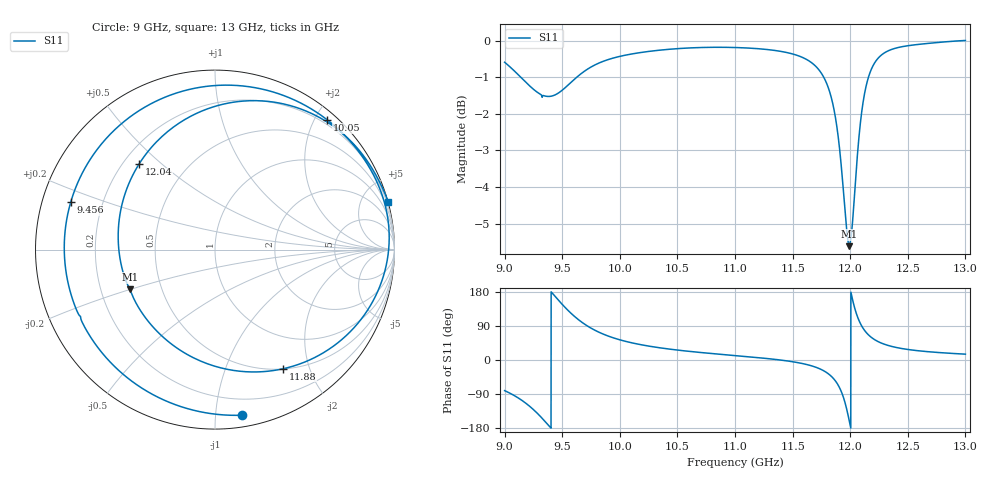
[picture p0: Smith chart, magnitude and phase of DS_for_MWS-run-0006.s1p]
! TOUCHSTONE file generated by CST DESIGN STUDIO
! Date and time: Wed Feb  5 13:40:33 2025
! Project name: C:\Work\MatlabApps\UnitCellOptimizationMatlab\CST\unitcell.cst
! Tree item: Tasks\Sweep1\SPara1\S-Parameters
! Header version: 2024
! Port assignment regex: !\s*Touchstone port\s*([0-9]+)\s*=\s*(CST MWS port|CST DES external port|CST DES block port)\s*(.+)\s* \(\"(.*)\"\)(\s*mode\s*([0-9]+))?.*
! Touchstone port assignment:
! Touchstone port 1 = CST DES external port 1 ("")
# GHz S MA R 50
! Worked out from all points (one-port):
!   4001 points, 9 GHz to 13 GHz, reference 50 ohm
!   lowest |S11| = -5.6 dB at 11.99 GHz (marker M1), VSWR 3.20, Z = 16.3 - j9.96 ohm
!   |S11| at or under -10 dB: nowhere
!   S11 on the Smith chart (normalised r, x): 9 GHz: 0.08, -1.17; 9.456 GHz: 0.09, +0.16; 10.05 GHz: 0.13, +2.19; 11.88 GHz: 0.50, -1.61; 12.04 GHz: 0.26, +0.42; 13 GHz: -0.03, +7.39
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9  0.9347 -80.8
9.13  0.8949 -102.4
9.234  0.8628 -126.5
9.357  0.8399 -163.9
9.456  0.8462 161.7
9.5  0.8558 146.8
9.591  0.8815 119.2
9.687  0.9072 96.1
9.834  0.9344 71.2
10  0.952 53.3
10.052  0.9559 49.1
10.5  0.9755 26.2
11  0.979 11.7
11.5  0.9593 -4.6
11.754  0.9007 -25.9
11.826  0.8471 -40.2
11.883  0.7653 -60.1
11.94  0.626 -97.4
11.988  0.5237 -155.0
12  0.5302 -172.4
12.044  0.6368 131.8
12.074  0.7325 105.8
12.107  0.8144 86.1
12.156  0.8889 67.1
12.212  0.9327 53.7
12.325  0.968 38.8
12.5  0.9845 27.8
13  1.001 15.4
